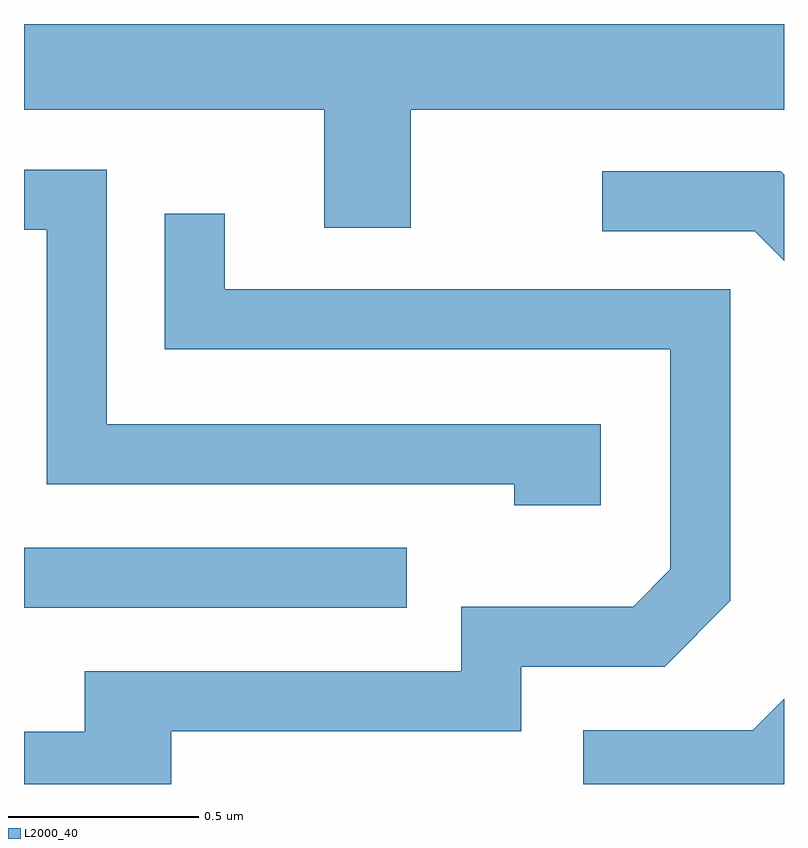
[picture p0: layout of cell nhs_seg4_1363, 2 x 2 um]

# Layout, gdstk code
import gdstk
lib = gdstk.Library(unit=1e-6, precision=1e-09)
def R(c, l, rs):  # rectangles x0, y0, x1, y1
    for r in rs: c.add(gdstk.rectangle(r[:2], r[2:], *l))
def P(c, l, *ps):  # polygons
    for p in ps: c.add(gdstk.Polygon(p, *l))
L2000_40 = (2000, 40)

nhs_seg4_1363 = lib.new_cell('nhs_seg4_1363')
R(nhs_seg4_1363, L2000_40, [(194.611,1384.446,195.618,1384.604)])
P(nhs_seg4_1363, L2000_40, [(195.629,1385.756),(196.611,1385.756),(196.611,1385.982),(194.611,1385.982),(194.611,1385.756),(195.401,1385.756),(195.401,1385.446),(195.629,1385.446)],
  [(196.129,1384.929),(194.829,1384.929),(194.829,1385.599),(194.611,1385.599),(194.611,1385.441),(194.671,1385.441),(194.671,1384.771),(195.901,1384.771),(195.901,1384.716),(196.129,1384.716)],
  [(196.611,1385.585),(196.602,1385.594),(196.133,1385.594),(196.133,1385.436),(196.534,1385.436),(196.611,1385.359)],
  [(194.999,1384.121),(195.919,1384.121),(195.919,1384.291),(196.297,1384.291),(196.469,1384.464),(196.469,1385.284),(195.139,1385.284),(195.139,1385.483),(194.981,1385.483),(194.981,1385.126),(196.311,1385.126),(196.311,1384.547),(196.214,1384.449),(195.761,1384.449),(195.761,1384.279),(194.771,1384.279),(194.771,1384.119),(194.611,1384.119),(194.611,1383.982),(194.999,1383.982)],
  [(196.611,1384.207),(196.529,1384.124),(196.083,1384.124),(196.083,1383.982),(196.611,1383.982)])

lib.write_gds('nhs_seg4_1363.gds')
